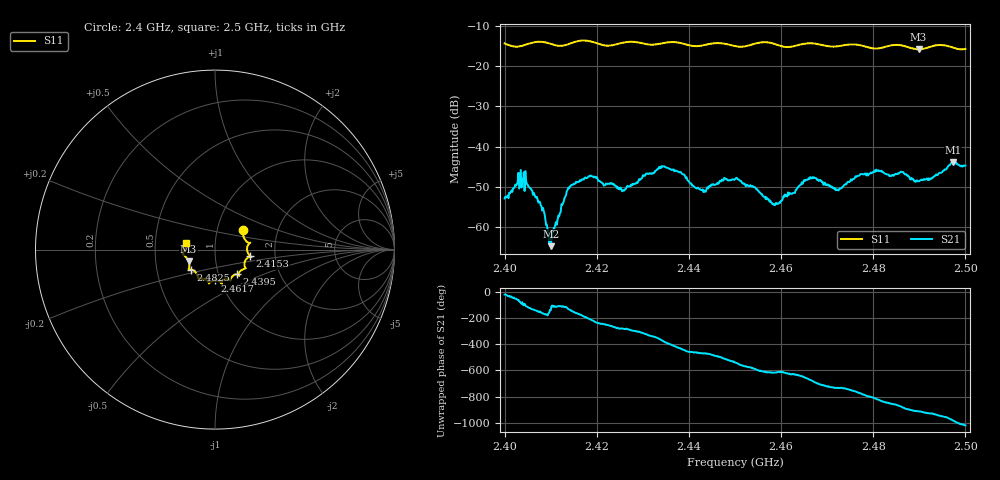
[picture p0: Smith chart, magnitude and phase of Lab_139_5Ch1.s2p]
# Hz S RI R 50
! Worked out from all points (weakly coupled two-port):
!   601 points, 2.4 GHz to 2.5 GHz, reference 50 ohm
!   highest |S21| = -43.80 dB at 2.4973 GHz (marker M1); lowest = -64.7 dB at 2.41 GHz (marker M2)
!   lowest |S11| = -15.9 dB at 2.4898 GHz (marker M3), VSWR 1.38, Z = 36.9 - j4.93 ohm
!   |S11| at or under -10 dB: start of sweep to end of sweep
!   S12 and S22 are empty: the file has one direction only
!   S11 on the Smith chart (normalised r, x): 2.4 GHz: 1.33, +0.30; 2.4153 GHz: 1.48, -0.11; 2.4395 GHz: 1.23, -0.35; 2.4617 GHz: 0.94, -0.33; 2.4825 GHz: 0.75, -0.17; 2.5 GHz: 0.72, +0.05
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2.4e9  0.1566 0.109  0.00218 -0.000647  0 0  0 0
2.404333e9  0.1771 0.0444  0.000139 -0.00281  0 0  0 0
2.408e9  0.1963 0.0385  -0.00167 -0.000753  0 0  0 0
2.41e9  0.1865 0.0294  -0.000426 -0.000395  0 0  0 0
2.4135e9  0.1831 -0.0185  -0.00126 -0.00251  0 0  0 0
2.415333e9  0.1966 -0.0371  -0.00321 -0.00135  0 0  0 0
2.416667e9  0.2033 -0.0415  -0.00379 -0.000434  0 0  0 0
2.425833e9  0.1685 -0.1004  0.000515 0.00284  0 0  0 0
2.433333e9  0.1328 -0.133  0.00524 0.00069  0 0  0 0
2.4395e9  0.1229 -0.138  -0.000171 -0.00415  0 0  0 0
2.443167e9  0.09 -0.1574  -0.000862 -0.00259  0 0  0 0
2.45e9  0.0665 -0.1643  -0.00393 -6.49e-05  0 0  0 0
2.458333e9  0.0363 -0.1871  -0.000458 0.00189  0 0  0 0
2.461667e9  0.000637 -0.1721  -0.00016 0.00251  0 0  0 0
2.466667e9  -0.034 -0.1886  0.00299 0.0027  0 0  0 0
2.472333e9  -0.0713 -0.1611  0.0028 -0.000601  0 0  0 0
2.477167e9  -0.0956 -0.1542  0.00264 -0.00367  0 0  0 0
2.4825e9  -0.1321 -0.1111  -0.00255 -0.00386  0 0  0 0
2.483333e9  -0.1394 -0.1104  -0.00297 -0.00338  0 0  0 0
2.489833e9  -0.1474 -0.0651  -0.00362 0.000826  0 0  0 0
2.497333e9  -0.1692 -0.00635  -0.000551 0.00643  0 0  0 0
2.5e9  -0.1596 0.0347  0.00312 0.00492  0 0  0 0
